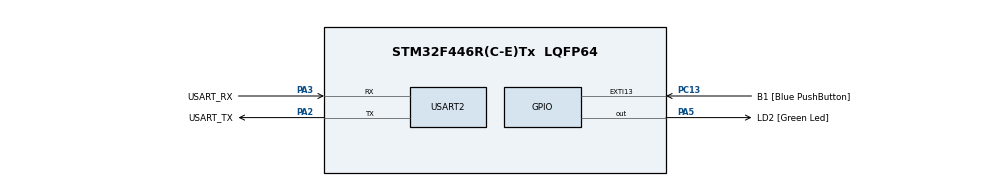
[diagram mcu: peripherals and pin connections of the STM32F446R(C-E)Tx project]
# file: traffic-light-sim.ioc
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Mcu.Family=STM32F4
Mcu.Name=STM32F446R(C-E)Tx
Mcu.Package=LQFP64
NVIC.PriorityGroup=NVIC_PRIORITYGROUP_4
NVIC.USART2_IRQn=true\:0\:0\:false\:false\:true\:true\:true\:true
PA13.GPIO_Label=TMS
PA13.Mode=Trace_Asynchronous_SW
PA13.Signal=SYS_JTMS-SWDIO
PA14.GPIO_Label=TCK
PA14.Mode=Trace_Asynchronous_SW
PA14.Signal=SYS_JTCK-SWCLK
PA2.GPIO_Label=USART_TX
PA2.Mode=Asynchronous
PA2.Signal=USART2_TX
PA3.GPIO_Label=USART_RX
PA3.Mode=Asynchronous
PA3.Signal=USART2_RX
PA5.GPIO_Label=LD2 [Green Led]
PA5.Signal=GPIO_Output
PB3.GPIO_Label=SWO
PB3.Mode=Trace_Asynchronous_SW
PB3.Signal=SYS_JTDO-SWO
PC13.GPIO_Label=B1 [Blue PushButton]
PC13.GPIO_ModeDefaultEXTI=GPIO_MODE_IT_FALLING
PC13.Signal=GPXTI13
PC14-OSC32_IN.Signal=RCC_OSC32_IN
PC15-OSC32_OUT.Signal=RCC_OSC32_OUT
PH0-OSC_IN.Signal=RCC_OSC_IN
PH1-OSC_OUT.Signal=RCC_OSC_OUT
ProjectManager.HeapSize=0x200
ProjectManager.StackSize=0x400
ProjectManager.TargetToolchain=STM32CubeIDE
RCC.AHBFreq_Value=84000000
RCC.APB1CLKDivider=RCC_HCLK_DIV2
RCC.APB1Freq_Value=42000000
RCC.APB1TimFreq_Value=84000000
RCC.APB2Freq_Value=84000000
RCC.APB2TimFreq_Value=84000000
RCC.CortexFreq_Value=84000000
RCC.FLatency-AdvancedSettings=FLASH_LATENCY_2
RCC.HCLKFreq_Value=84000000
RCC.HSE_VALUE=8000000
RCC.HSI_VALUE=16000000
RCC.LSE_VALUE=32768
RCC.PLLN=336
RCC.PLLP=RCC_PLLP_DIV4
RCC.SYSCLKFreq_VALUE=84000000
RCC.SYSCLKSource=RCC_SYSCLKSOURCE_PLLCLK
RCC.USBFreq_Value=168000000
RCC.VCOOutputFreq_Value=336000000
USART2.VirtualMode=VM_ASYNC
board=NUCLEO-F446RE

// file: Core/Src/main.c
/* USER CODE BEGIN Header */
/**
 ******************************************************************************
 * @file           : main.c
 * @brief          : Main program body
 ******************************************************************************
 * @attention
 *
 * Copyright (c) 2025 STMicroelectronics.
 * All rights reserved.
 *
 * This software is licensed under terms that can be found in the LICENSE file
 * in the root directory of this software component.
 * If no LICENSE file comes with this software, it is provided AS-IS.
 *
 ******************************************************************************
 */
/* USER CODE END Header */
/* Includes
 * ------------------------------------------------------------------*/
#include "main.h"

/* Private includes
 * ----------------------------------------------------------*/
/* USER CODE BEGIN Includes */
#include "FreeRTOS.h"
#include "FreeRTOSConfig.h"
#include "SEGGER_SYSVIEW.h"
#include "app_main.hpp"
#include "projdefs.h"
#include "task.h"
#include <stdint.h>
#include <stdio.h>

/* USER CODE END Includes */

/* Private typedef
 * -----------------------------------------------------------*/

/* Private define
 * ------------------------------------------------------------*/

/* Private macro
 * -------------------------------------------------------------*/
/* USER CODE BEGIN PM */
// #define DWT_CTRL (*(volatile uint32_t *)0xE0001000)
// #define DWT_CYCCNT (*(volatile uint32_t *)0xE0001004)
// #define DEMCR (*(volatile uint32_t *)0xE000EDFC)
// #define DEMCR_TRCENA (1 << 24)
/* USER CODE END PM */

/* Private variables
 * ---------------------------------------------------------*/
UART_HandleTypeDef huart2;

/* Private function prototypes
 * -----------------------------------------------*/
void SystemClock_Config (void);
static void MX_GPIO_Init (void);
static void MX_USART2_UART_Init (void);
/* USER CODE BEGIN PFP */
void enableCycleCounter (void);
uint32_t getCycleCount (void);
void vApplicationStackOverflowHook (TaskHandle_t xTask, char *pcTaskName);
static void SWO_Init (uint32_t cpu_hz, uint32_t swo_hz);
/* USER CODE END PFP */

/* Private user code
 * ---------------------------------------------------------*/

int
main (void)
{

    /* MCU
     * Configuration--------------------------------------------------------*/

    /* Reset of all peripherals, Initializes the Flash interface and the
     * Systick. */
    HAL_Init ();

    /* Configure the system clock */
    SystemClock_Config ();

    /* Initialize all configured peripherals */
    MX_GPIO_Init ();
    MX_USART2_UART_Init ();
    /* USER CODE BEGIN 2 */

    SystemCoreClockUpdate ();
    SWO_Init (SystemCoreClock, 2000000);
    setvbuf (stdout, NULL, _IONBF, 0);

    enableCycleCounter ();
    SEGGER_SYSVIEW_Conf ();

    app_main ();
    vTaskStartScheduler ();

    Error_Handler ();

    /* USER CODE END 2 */

    /* Infinite loop */
    while (1)
    {

    }
}

void
SystemClock_Config (void)
{
    RCC_OscInitTypeDef RCC_OscInitStruct = { 0 };
    RCC_ClkInitTypeDef RCC_ClkInitStruct = { 0 };

    /** Configure the main internal regulator output voltage
     */
    __HAL_RCC_PWR_CLK_ENABLE ();
    __HAL_PWR_VOLTAGESCALING_CONFIG (PWR_REGULATOR_VOLTAGE_SCALE3);

    /** Initializes the RCC Oscillators according to the specified parameters
     * in the RCC_OscInitTypeDef structure.
     */
    RCC_OscInitStruct.OscillatorType = RCC_OSCILLATORTYPE_HSI;
    RCC_OscInitStruct.HSIState = RCC_HSI_ON;
    RCC_OscInitStruct.HSICalibrationValue = RCC_HSICALIBRATION_DEFAULT;
    RCC_OscInitStruct.PLL.PLLState = RCC_PLL_ON;
    RCC_OscInitStruct.PLL.PLLSource = RCC_PLLSOURCE_HSI;
    RCC_OscInitStruct.PLL.PLLM = 16;
    RCC_OscInitStruct.PLL.PLLN = 336;
    RCC_OscInitStruct.PLL.PLLP = RCC_PLLP_DIV4;
    RCC_OscInitStruct.PLL.PLLQ = 2;
    RCC_OscInitStruct.PLL.PLLR = 2;
    if (HAL_RCC_OscConfig (&RCC_OscInitStruct) != HAL_OK)
    {
        Error_Handler ();
    }

    /** Initializes the CPU, AHB and APB buses clocks
     */
    RCC_ClkInitStruct.ClockType = RCC_CLOCKTYPE_HCLK | RCC_CLOCKTYPE_SYSCLK
                                  | RCC_CLOCKTYPE_PCLK1 | RCC_CLOCKTYPE_PCLK2;
    RCC_ClkInitStruct.SYSCLKSource = RCC_SYSCLKSOURCE_PLLCLK;
    RCC_ClkInitStruct.AHBCLKDivider = RCC_SYSCLK_DIV1;
    RCC_ClkInitStruct.APB1CLKDivider = RCC_HCLK_DIV2;
    RCC_ClkInitStruct.APB2CLKDivider = RCC_HCLK_DIV1;

    if (HAL_RCC_ClockConfig (&RCC_ClkInitStruct, FLASH_LATENCY_2) != HAL_OK)
    {
        Error_Handler ();
    }
}

static void
MX_USART2_UART_Init (void)
{

    huart2.Instance = USART2;
    huart2.Init.BaudRate = 115200;
    huart2.Init.WordLength = UART_WORDLENGTH_8B;
    huart2.Init.StopBits = UART_STOPBITS_1;
    huart2.Init.Parity = UART_PARITY_NONE;
    huart2.Init.Mode = UART_MODE_TX_RX;
    huart2.Init.HwFlowCtl = UART_HWCONTROL_NONE;
    huart2.Init.OverSampling = UART_OVERSAMPLING_16;
    if (HAL_UART_Init (&huart2) != HAL_OK)
    {
        Error_Handler ();
    }
}

static void
MX_GPIO_Init (void)
{
    GPIO_InitTypeDef GPIO_InitStruct = { 0 };

    /* GPIO Ports Clock Enable */
    __HAL_RCC_GPIOC_CLK_ENABLE ();
    __HAL_RCC_GPIOH_CLK_ENABLE ();
    __HAL_RCC_GPIOA_CLK_ENABLE ();
    __HAL_RCC_GPIOB_CLK_ENABLE ();

    /*Configure GPIO pin Output Level */
    HAL_GPIO_WritePin (LD2_GPIO_Port, LD2_Pin, GPIO_PIN_RESET);

    /*Configure GPIO pin : B1_Pin */
    GPIO_InitStruct.Pin = B1_Pin;
    GPIO_InitStruct.Mode = GPIO_MODE_IT_FALLING;
    GPIO_InitStruct.Pull = GPIO_NOPULL;
    HAL_GPIO_Init (B1_GPIO_Port, &GPIO_InitStruct);

    /*Configure GPIO pin : LD2_Pin */
    GPIO_InitStruct.Pin = LD2_Pin;
    GPIO_InitStruct.Mode = GPIO_MODE_OUTPUT_PP;
    GPIO_InitStruct.Pull = GPIO_NOPULL;
    GPIO_InitStruct.Speed = GPIO_SPEED_FREQ_LOW;
    HAL_GPIO_Init (LD2_GPIO_Port, &GPIO_InitStruct);

}

/* USER CODE BEGIN 4 */
static void
SWO_Init (uint32_t cpu_hz, uint32_t swo_hz)
{
    CoreDebug->DEMCR |= CoreDebug_DEMCR_TRCENA_Msk;
    DBGMCU->CR |= DBGMCU_CR_TRACE_IOEN;

    ITM->LAR = 0xC5ACCE55;

    TPI->SPPR = 2;                     // NRZ
    TPI->ACPR = (cpu_hz / swo_hz) - 1; // 84MHz/2MHz => 41
    TPI->FFCR = 0x100;                 // disable formatter

    ITM->TPR = 0xFFFFFFFF; // allow stimulus ports
    ITM->TCR = ITM_TCR_ITMENA_Msk | ITM_TCR_SWOENA_Msk;
    ITM->TER = 1; // enable port 0
}

void
enableCycleCounter (void)
{
    CoreDebug->DEMCR |= CoreDebug_DEMCR_TRCENA_Msk; // enable trace
    DWT->CYCCNT = 0;                                // reset counter
    DWT->CTRL |= DWT_CTRL_CYCCNTENA_Msk;            // enable counter
}

uint32_t
getCycleCount (void)
{
    return DWT->CYCCNT;
}

void
vApplicationStackOverflowHook (TaskHandle_t xTask, char *pcTaskName)
{
    printf ("Stack overflow in task: %s\n", pcTaskName);
    while (1);
}

void
vApplicationMallocFailedHook (void)
{
    printf ("Malloc failed!\n");
    while (1)
        ;
}

/* USER CODE END 4 */

void
Error_Handler (void)
{
    /* USER CODE BEGIN Error_Handler_Debug */
    /* User can add his own implementation to report the HAL error return state
     */
    __disable_irq ();
    while (1)
    {
    }
    /* USER CODE END Error_Handler_Debug */
}
#ifdef USE_FULL_ASSERT
/**
 * @brief  Reports the name of the source file and the source line number
 *         where the assert_param error has occurred.
 * @param  file: pointer to the source file name
 * @param  line: assert_param error line source number
 * @retval None
 */
void
assert_failed (uint8_t *file, uint32_t line)
{
    /* USER CODE BEGIN 6 */
    /* User can add his own implementation to report the file name and line
       number, ex: printf("Wrong parameters value: file %s on line %d\r\n",
       file, line) */
    /* USER CODE END 6 */
}
#endif /* USE_FULL_ASSERT */
